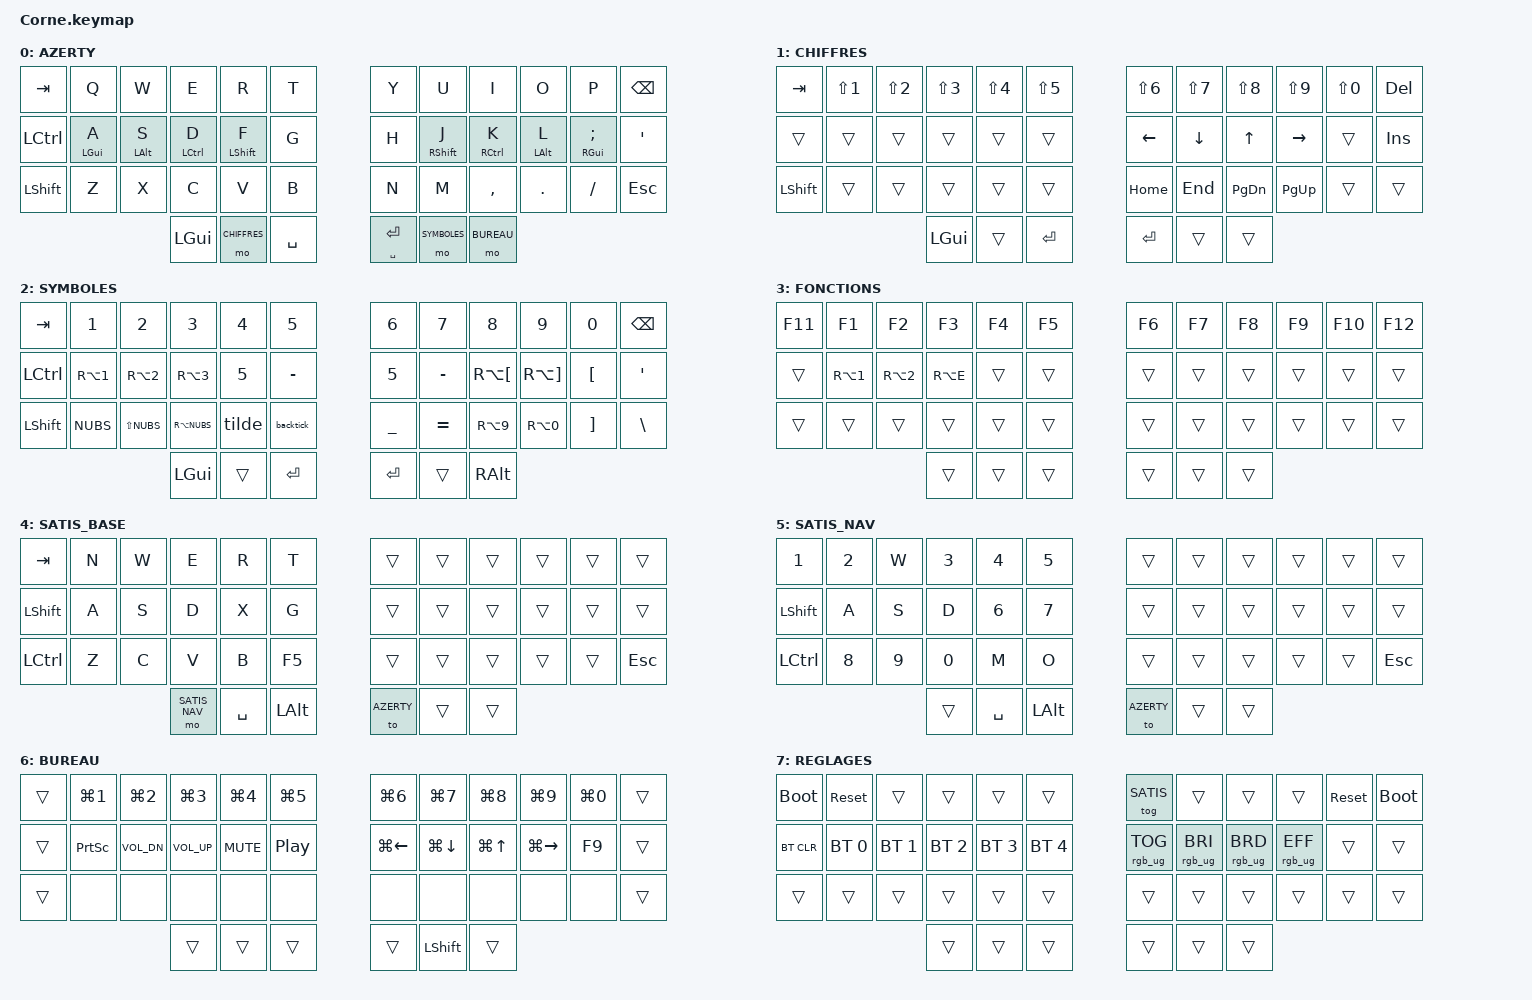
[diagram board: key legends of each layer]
/*
 * Copyright (c) 2020 The ZMK Contributors
 *
 * SPDX-License-Identifier: MIT
 */

#include <behaviors.dtsi>
#include <dt-bindings/zmk/bt.h>
#include <dt-bindings/zmk/keys.h>
#include <dt-bindings/zmk/rgb.h>

// Le système est en AZERTY belge : les commentaires montrent le caractère
// obtenu sous cette disposition, pas le nom du code de touche envoyé.

#define AZERTY    0
#define CHIFFRES  1
#define SYMBOLES  2
#define FONCTIONS 3
#define SATIS     4
#define SATIS_NAV 5
#define BUREAU    6
#define REGLAGES  7

/ {
    conditional_layers {
        compatible = "zmk,conditional-layers";

        // CHIFFRES + SYMBOLES maintenus ensemble -> FONCTIONS.
        fonctions {
            if-layers = <CHIFFRES SYMBOLES>;
            then-layer = <FONCTIONS>;
        };

        // CHIFFRES + BUREAU maintenus ensemble -> REGLAGES.
        reglages {
            if-layers = <CHIFFRES BUREAU>;
            then-layer = <REGLAGES>;
        };
    };

    // Les deux pouces droits extérieurs ensemble -> BUREAU avec Shift.
    combos {
        compatible = "zmk,combos";

        bureau_shift {
            timeout-ms = <60>;
            key-positions = <40 41>;
            bindings = <&bureau_shift>;
        };
    };

    macros {
        // BUREAU + Shift : envoie la fenêtre au lieu d'aller au bureau.
        bureau_shift: bureau_shift {
            compatible = "zmk,behavior-macro";
            #binding-cells = <0>;
            bindings
                = <&macro_press &mo BUREAU &kp LSHFT>
                , <&macro_pause_for_release>
                , <&macro_release &mo BUREAU &kp LSHFT>
                ;
        };

        // Le tilde et l'accent grave sont des touches mortes en belge :
        // la touche morte suivie d'un espace donne le caractère seul.
        tilde: tilde {
            compatible = "zmk,behavior-macro";
            #binding-cells = <0>;
            bindings = <&kp RA(FSLH) &kp SPACE>;
        };

        backtick: backtick {
            compatible = "zmk,behavior-macro";
            #binding-cells = <0>;
            bindings = <&kp RA(BACKSLASH) &kp SPACE>;
        };
    };

    behaviors {
        // Pouce droit : appui court = Entrée, appui long = Espace
        // (Super + Espace sans utiliser le même pouce).
        ent_spc: ent_spc {
            compatible = "zmk,behavior-hold-tap";
            bindings = <&kp>, <&kp>;

            #binding-cells = <2>;
            flavor = "tap-preferred";
            tapping-term-ms = <200>;
            quick-tap-ms = <150>;
        };

        hrm_left: hrm_left {
            compatible = "zmk,behavior-hold-tap";
            label = "HRM_LEFT";
            bindings = <&kp>, <&kp>;

            #binding-cells = <2>;
            flavor = "tap-preferred";
            tapping-term-ms = <250>;
            quick-tap-ms = <175>;
            require-prior-idle-ms = <200>;
            hold-trigger-key-positions = <6 18 30 31 19 7 8 20 32 33 21 9 10 22 34>;
        };

        hrm_right: hrm_right {
            compatible = "zmk,behavior-hold-tap";
            label = "HRM_RIGHT";
            bindings = <&kp>, <&kp>;

            #binding-cells = <2>;
            tapping-term-ms = <250>;
            quick-tap-ms = <175>;
            require-prior-idle-ms = <200>;
            flavor = "tap-preferred";
            hold-trigger-key-positions = <1 13 25 26 14 2 3 15 27 28 16 4 17 5 29>;
        };

        hrm_left_shift: hrm_left_shift {
            compatible = "zmk,behavior-hold-tap";
            label = "HRM_LEFT_SHIFT";
            bindings = <&kp>, <&kp>;

            #binding-cells = <2>;
            flavor = "balanced";
            tapping-term-ms = <175>;
            quick-tap-ms = <140>;
            require-prior-idle-ms = <40>;
            hold-trigger-key-positions = <6 18 30 31 19 7 8 20 32 33 21 9 10 22 34>;
        };

        hrm_right_shift: hrm_right_shift {
            compatible = "zmk,behavior-hold-tap";
            label = "HRM_RIGHT_SHIFT";
            bindings = <&kp>, <&kp>;

            #binding-cells = <2>;
            flavor = "balanced";
            tapping-term-ms = <175>;
            quick-tap-ms = <140>;
            require-prior-idle-ms = <40>;
            hold-trigger-key-positions = <1 13 25 26 14 2 3 15 27 28 16 4 17 5 29>;
        };
    };

    keymap {
        compatible = "zmk,keymap";

        default_layer {
            display-name = "AZERTY";

            // -----------------------------------------------------------------------------------------
            // |  TAB |  A  |  Z  |  E  |  R  |  T  |   |  Y  |  U   |  I  |  O  |  P  | BKSP |
            // | CTRL |  Q  |  S  |  D  |  F  |  G  |   |  H  |  J   |  K  |  L  |  M  |  ù   |
            // | SHFT |  W  |  X  |  C  |  V  |  B  |   |  N  |  ,   |  ;  |  :  |  =  | ESC  |
            //                    | GUI | CHF | SPC |   |ENT/SPC| SYM | BUR |

            bindings = <
&kp TAB    &kp Q                 &kp W                 &kp E              &kp R                         &kp T      &kp Y      &kp U                           &kp I               &kp O                  &kp P                      &kp BSPC
&kp LCTRL  &hrm_left LEFT_GUI A  &hrm_left LEFT_ALT S  &hrm_left LCTRL D  &hrm_left_shift LEFT_SHIFT F  &kp G      &kp H      &hrm_right_shift RIGHT_SHIFT J  &hrm_right RCTRL K  &hrm_right LEFT_ALT L  &hrm_right RIGHT_GUI SEMI  &kp SQT
&kp LSHFT  &kp Z                 &kp X                 &kp C              &kp V                         &kp B      &kp N      &kp M                           &kp COMMA           &kp DOT                &kp FSLH                   &kp ESC
                                                       &kp LGUI           &mo CHIFFRES                  &kp SPACE  &ent_spc SPACE ENTER  &mo SYMBOLES                    &mo BUREAU
            >;
        };

        lower_layer {
            display-name = "CHIFFRES";

            // -----------------------------------------------------------------------------------------
            // |  TAB |  1  |  2  |  3  |  4  |  5  |   |  6  |  7  |  8  |  9  |  0  | DEL  |
            // |      |     |     |     |     |     |   | LFT | DWN |  UP | RGT |     | INS  |
            // | SHFT |     |     |     |     |     |   | HOME| END | PGDN| PGUP|     |      |
            //                    | GUI |     | ENT |   | ENT |     | BUR |

            bindings = <
&kp TAB    &kp LS(N1)  &kp LS(N2)  &kp LS(N3)  &kp LS(N4)  &kp LS(N5)  &kp LS(N6)      &kp LS(N7)      &kp LS(N8)     &kp LS(N9)       &kp LS(N0)  &kp DELETE
&trans     &trans      &trans      &trans      &trans      &trans      &kp LEFT_ARROW  &kp DOWN_ARROW  &kp UP_ARROW   &kp RIGHT_ARROW  &trans      &kp INSERT
&kp LSHFT  &trans      &trans      &trans      &trans      &trans      &kp HOME        &kp END         &kp PAGE_DOWN  &kp PAGE_UP      &trans      &trans
                                   &kp LGUI    &trans      &kp ENTER   &kp RET         &trans          &trans
            >;
        };

        raise_layer {
            display-name = "SYMBOLES";

            // -----------------------------------------------------------------------------------------
            // |  TAB |  &  |  é  |  "  |  '  |  (  |   |  §  |  è  |  !  |  ç  |  à  | BKSP |
            // | CTRL |  |  |  @  |  #  |  (  |  )  |   |  (  |  )  |  [  |  ]  |  ^  |  ù   |
            // | SHFT |  <  |  >  |  \  |  ~  |  `  |   |  °  |  -  |  {  |  }  |  $  |  µ   |
            //                    | GUI |     | ENT |   | ENT |     |AltGr|

            bindings = <
&kp TAB    &kp N1      &kp N2      &kp N3          &kp N4     &kp N5     &kp N6          &kp N7     &kp N8                &kp N9                 &kp N0             &kp BSPC
&kp LCTRL  &kp RA(N1)  &kp RA(N2)  &kp RA(N3)      &kp N5     &kp MINUS  &kp NUMBER_5    &kp MINUS  &kp RA(LEFT_BRACKET)  &kp RA(RIGHT_BRACKET)  &kp LEFT_BRACKET   &kp SINGLE_QUOTE
&kp LSHFT  &kp NUBS    &kp LS(NUBS)  &kp RA(NUBS)  &tilde     &backtick  &kp UNDERSCORE  &kp EQUAL  &kp RA(N9)            &kp RA(N0)             &kp RIGHT_BRACKET  &kp BACKSLASH
                                   &kp LGUI        &trans     &kp ENTER  &kp RET         &trans     &kp RALT
            >;
        };

        function_layer {
            display-name = "FONCTIONS";

            // CHIFFRES + SYMBOLES maintenus ensemble.
            // -----------------------------------------------------------------------------------------
            // | F11 | F1 | F2 | F3 | F4 | F5 |   | F6 | F7 | F8 | F9 | F10 | F12 |
            // |     |  | |  @ |  € |    |    |   |    |    |    |    |     |     |
            // |     |    |    |    |    |    |   |    |    |    |    |     |     |
            //                    |     |    |    |   |    |     |     |

            bindings = <
&kp F11  &kp F1      &kp F2      &kp F3     &kp F4  &kp F5  &kp F6  &kp F7  &kp F8  &kp F9  &kp F10  &kp F12
&trans   &kp RA(N1)  &kp RA(N2)  &kp RA(E)  &trans  &trans  &trans  &trans  &trans  &trans  &trans   &trans
&trans   &trans      &trans      &trans     &trans  &trans  &trans  &trans  &trans  &trans  &trans   &trans
                                 &trans     &trans  &trans  &trans  &trans  &trans
            >;
        };

        game_base {
            display-name = "SATIS_BASE";
            bindings = <
&kp TAB     &kp N  &kp W  &kp E  &kp R      &kp T     &trans  &trans  &trans  &trans  &trans  &trans
&kp LSHIFT  &kp A  &kp S  &kp D  &kp X      &kp G     &trans  &trans  &trans  &trans  &trans  &trans
&kp LCTRL   &kp Z  &kp C  &kp V  &kp B      &kp F5    &trans  &trans  &trans  &trans  &trans  &kp ESC
                           &mo SATIS_NAV  &kp SPACE  &kp LALT  &to AZERTY  &trans  &trans
            >;
        };

        game_nav {
            display-name = "SATIS_NAV";
            bindings = <
&kp N1      &kp N2  &kp W   &kp N3  &kp N4     &kp N5    &trans  &trans  &trans  &trans  &trans  &trans
&kp LSHIFT  &kp A   &kp S   &kp D   &kp N6     &kp N7    &trans  &trans  &trans  &trans  &trans  &trans
&kp LCTRL   &kp N8  &kp N9  &kp N0  &kp M      &kp O     &trans  &trans  &trans  &trans  &trans  &kp ESC
                            &trans  &kp SPACE  &kp LALT  &to AZERTY  &trans  &trans
            >;
        };

        bureau_layer {
            display-name = "BUREAU";

            // Raccourcis Omarchy complets. Ctrl, Shift et Super restent actifs.
            // Shift (pouce SYM, ou les deux pouces droits ensemble) + même touche :
            //   S1…S10 -> envoyer la fenêtre vers ce bureau
            //   S← S↓ S↑ S→ -> échanger les fenêtres
            // S = Super+…   Dict = dictée (F9, maintenir)
            // -----------------------------------------------------------------------------------------
            // |  TAB | S1  | S2  | S3  | S4  | S5  |   | S6  | S7  | S8  | S9  | S10 |      |
            // | CTRL | Impr| Vol-| Vol+| Muet| ⏯   |   | S←  | S↓  | S↑  | S→  | Dict|      |
            // | SHFT |     |     |     |     |     |   |     |     |     |     |     | ESC  |
            //                    | GUI | CHF | SPC |   | ENT |SHIFT| ███ |

            bindings = <
&trans  &kp LG(N1)  &kp LG(N2)    &kp LG(N3)    &kp LG(N4)  &kp LG(N5)  &kp LG(N6)    &kp LG(N7)    &kp LG(N8)  &kp LG(N9)     &kp LG(N0)  &trans
&trans  &kp PSCRN   &kp C_VOL_DN  &kp C_VOL_UP  &kp C_MUTE  &kp C_PP    &kp LG(LEFT)  &kp LG(DOWN)  &kp LG(UP)  &kp LG(RIGHT)  &kp F9      &trans
&trans  &none       &none         &none         &none       &none       &none         &none         &none       &none          &none       &trans
                                  &trans        &trans      &trans      &trans        &kp LSHFT     &trans
            >;
        };

        adjust_layer {
            display-name = "REGLAGES";

            // CHIFFRES + BUREAU maintenus ensemble.
            // -----------------------------------------------------------------------------------------
            // | BOOT | RST |     |     |     |     |   | JEU |     |     |     | RST | BOOT |
            // | BTCLR| BT1 | BT2 | BT3 | BT4 | BT5 |   | TOG | BR+ | BR- | EFF |     |      |
            // |      |     |     |     |     |     |   |     |     |     |     |     |      |
            //                    |     |     |     |   |     |     |     |

            bindings = <
&bootloader  &sys_reset    &trans        &trans        &trans        &trans        &tog SATIS       &trans           &trans           &trans           &sys_reset  &bootloader
&bt BT_CLR   &bt BT_SEL 0  &bt BT_SEL 1  &bt BT_SEL 2  &bt BT_SEL 3  &bt BT_SEL 4  &rgb_ug RGB_TOG  &rgb_ug RGB_BRI  &rgb_ug RGB_BRD  &rgb_ug RGB_EFF  &trans      &trans
&trans       &trans        &trans        &trans        &trans        &trans        &trans           &trans           &trans           &trans           &trans      &trans
                                         &trans        &trans        &trans        &trans           &trans           &trans
            >;
        };
    };
};
